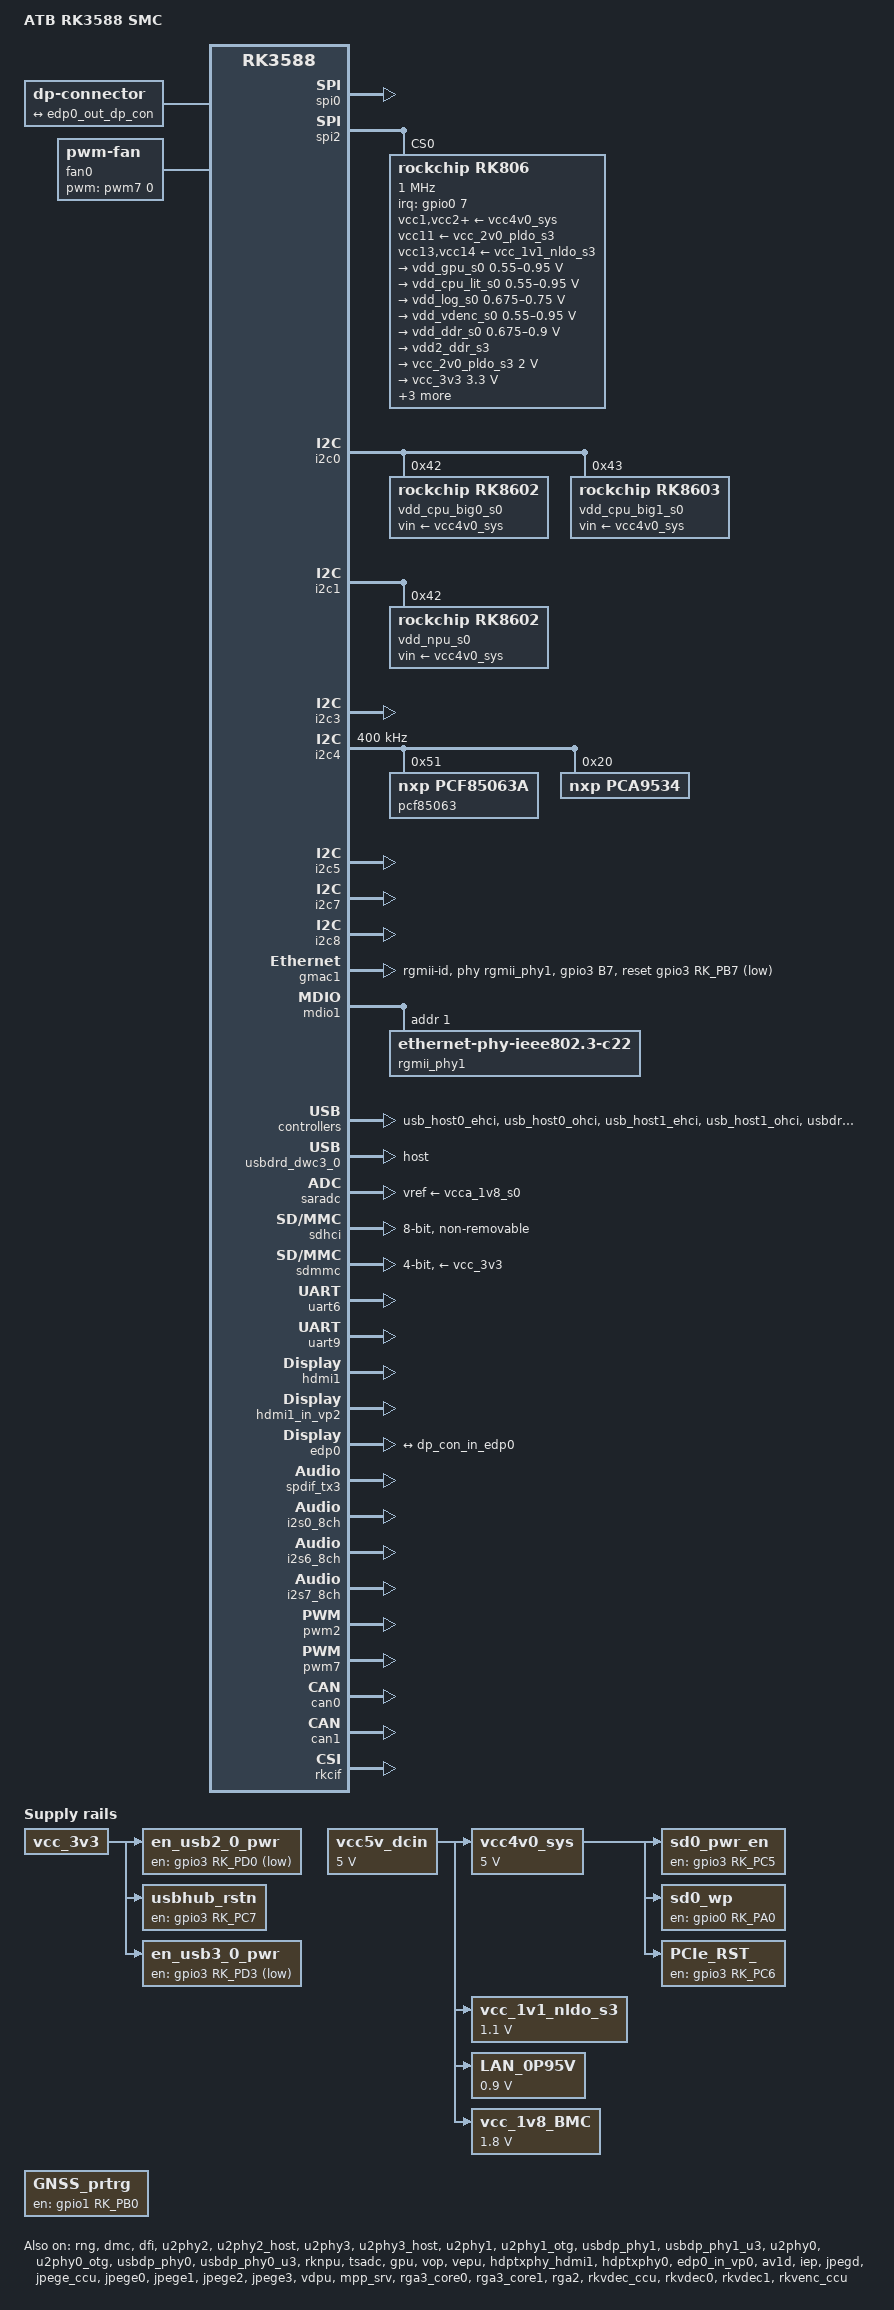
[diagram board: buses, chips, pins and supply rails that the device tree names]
// SPDX-License-Identifier: (GPL-2.0+ OR MIT)
/*
 * Copyright (c) 2022 Rockchip Electronics Co., Ltd.
 * Copyright (c) 2022 Radxa Limited
 *
 */

/dts-v1/;

#include <dt-bindings/gpio/gpio.h>
#include <dt-bindings/leds/common.h>
#include <dt-bindings/pwm/pwm.h>
#include <dt-bindings/pinctrl/rockchip.h>
#include <dt-bindings/input/rk-input.h>
#include <dt-bindings/display/drm_mipi_dsi.h>
#include <dt-bindings/display/rockchip_vop.h>
#include <dt-bindings/sensor-dev.h>
#include "dt-bindings/usb/pd.h"
#include "rk3588.dtsi"
#include "rk3588-smc-pcie-sata.dtsi"

/ {
	model = "ATB RK3588 SMC";
	compatible = "atb,rk3588-smc", "rockchip,rk3588";

    aliases {
		ethernet0 = &gmac0;
		ethernet1 = &gmac1;
        mmc0 = &sdhci;
		mmc1 = &sdmmc;
	};
	
    chosen: chosen {
		bootargs = "earlycon=uart8250,mmio32,0xfeb50000 console=ttyFIQ0";
		stdout-path = "serial2:115200n8";
	};

    //CHECK_IT //DEBUG ON UART3    //MUST be fixed to UART2!!!
    fiq_debugger: fiq-debugger {
		compatible = "rockchip,fiq-debugger";
		rockchip,serial-id = <2>;
		rockchip,wake-irq = <0>;
		//If enable uart uses irq instead of fiq
		rockchip,irq-mode-enable = <1>;
		rockchip,baudrate = <115200>;  // Only 115200 and 1500000
		interrupts = <GIC_SPI 423 IRQ_TYPE_LEVEL_LOW>;
		pinctrl-names = "default";
		pinctrl-0 = <&uart2m0_xfer>;
		status = "okay";
	};
	
    cspmu: cspmu@fd10c000 {
		compatible = "rockchip,cspmu";
		reg = <0x0 0xfd10c000 0x0 0x1000>,
		      <0x0 0xfd10d000 0x0 0x1000>,
		      <0x0 0xfd10e000 0x0 0x1000>,
		      <0x0 0xfd10f000 0x0 0x1000>,
		      <0x0 0xfd12c000 0x0 0x1000>,
		      <0x0 0xfd12d000 0x0 0x1000>,
		      <0x0 0xfd12e000 0x0 0x1000>,
		      <0x0 0xfd12f000 0x0 0x1000>;
	};

	debug: debug@fd104000 {
		compatible = "rockchip,debug";
		reg = <0x0 0xfd104000 0x0 0x1000>,
		      <0x0 0xfd105000 0x0 0x1000>,
		      <0x0 0xfd106000 0x0 0x1000>,
		      <0x0 0xfd107000 0x0 0x1000>,
		      <0x0 0xfd124000 0x0 0x1000>,
		      <0x0 0xfd125000 0x0 0x1000>,
		      <0x0 0xfd126000 0x0 0x1000>,
		      <0x0 0xfd127000 0x0 0x1000>;
	};
	
    firmware {
		optee: optee {
			compatible = "linaro,optee-tz";
			method = "smc";
			//status = "disabled";
		};
	};
	
	//Input suply
	vcc5v_dcin: vcc5v-dcin {
		compatible = "regulator-fixed";
		regulator-name = "vcc5v_dcin";
		regulator-always-on;
		regulator-boot-on;
		regulator-min-microvolt = <5000000>;
		regulator-max-microvolt = <5000000>;
	};
	
	//D6
	vcc4v0_sys: vcc4v0-sys {
		compatible = "regulator-fixed";
		regulator-name = "vcc5v0_sys";
		regulator-always-on;
		regulator-boot-on;
		regulator-min-microvolt = <5000000>;
		regulator-max-microvolt = <5000000>;
		vin-supply = <&vcc5v_dcin>;
	};
    
    //D5
    vcc_1v1_nldo_s3: vcc-1v1-nldo-s3 {
		compatible = "regulator-fixed";
		regulator-name = "vcc_1v1_nldo_s3";
		regulator-always-on;
		regulator-boot-on;
		regulator-min-microvolt = <1100000>;
		regulator-max-microvolt = <1100000>;
		vin-supply = <&vcc5v_dcin>;
	};
	
	//D14
	LAN_0P95V: LAN-0P95V {
		compatible = "regulator-fixed";
		regulator-name = "LAN_0P95V";
		regulator-always-on;
		regulator-boot-on;
		regulator-min-microvolt = <900000>;
		regulator-max-microvolt = <900000>;
		vin-supply = <&vcc5v_dcin>;
	};
	
    //D28
    vcc_1v8_BMC: vcc-1v8-BMC {
		compatible = "regulator-fixed";
		regulator-name = "vcc_1v8_BMC";
		regulator-always-on;
		regulator-boot-on;
		regulator-min-microvolt = <1800000>;
		regulator-max-microvolt = <1800000>;
		vin-supply = <&vcc5v_dcin>;
	};
	
	// SDMMC0_PWR_EN
	sd0_pwr_en: sd0-pwr-en {
		compatible = "regulator-fixed";
		regulator-name = "sd0_pwr_en";
		regulator-boot-on;
		regulator-always-on;
		enable-active-high;
		//gpios = <&gpio3 RK_PC5 GPIO_ACTIVE_LOW>;
		gpios = <&gpio3 RK_PC5 GPIO_ACTIVE_HIGH>;
		vin-supply = <&vcc4v0_sys>;
		status = "okay";
	};
	
	// SDMMC0_WP
	sd0_wp: sd0-wp {
		compatible = "regulator-fixed";
		regulator-name = "sd0_wp";
		regulator-boot-on;
		regulator-always-on;
		enable-active-high;
		gpios = <&gpio0 RK_PA0 GPIO_ACTIVE_HIGH>;
		vin-supply = <&vcc4v0_sys>;
		status = "okay";
	};
	
    // Pcie reset.
    //One reset out to all lines. we can't use it. 
	PCIe_RST_: PCIe-RST- {
		compatible = "regulator-fixed";
		regulator-name = "PCIe_RST_";
		regulator-boot-on;
		regulator-always-on;
		enable-active-high;
		gpios = <&gpio3 RK_PC6 GPIO_ACTIVE_HIGH>;
		vin-supply = <&vcc4v0_sys>;
		status = "okay";
	};
    
    //USB20_PWR_DIS
    en_usb2_0_pwr: en_usb2_0_pwr {
        compatible = "regulator-fixed";
        regulator-name = "en_usb2_0_pwr";
        regulator-boot-on;
        regulator-always-on;
        enable-active-low;
        gpios = <&gpio3 RK_PD0 GPIO_ACTIVE_HIGH>;
        vin-supply = <&vcc_3v3>;
        status = "okay";
    };
    
    //USBHUB_RSTn
    usbhub_rstn: usbhub_rstn {
        compatible = "regulator-fixed";
        regulator-name = "usbhub_rstn";
        regulator-boot-on;
        regulator-always-on;
        enable-active-high;
        gpios = <&gpio3 RK_PC7 GPIO_ACTIVE_HIGH>;
        vin-supply = <&vcc_3v3>;
        status = "okay";
    };
    
    //USB30_PWR_DIS
    en_usb3_0_pwr: en_usb3_0_pwr {
        compatible = "regulator-fixed";
        regulator-name = "en-usb3_0-pwr";
        regulator-boot-on;
        regulator-always-on;
        enable-active-low;
        gpios = <&gpio3 RK_PD3 GPIO_ACTIVE_HIGH>;
        vin-supply = <&vcc_3v3>;
        status = "okay";
    };
    
    GNSS_prtrg: GNSS-prtrg {
		compatible = "regulator-fixed";
		enable-active-high;
		gpio = <&gpio1 RK_PB0 GPIO_ACTIVE_LOW>;
		pinctrl-names = "default";
		pinctrl-0 = <&gnss_prtrg_pin>;
		regulator-name = "gnss_prtrg_pin";
		regulator-always-on;
		regulator-boot-on;
    };
    
	hdmi1_sound: hdmi1-sound {
		status = "okay";
		compatible = "rockchip,hdmi";
		rockchip,mclk-fs = <128>;
		rockchip,card-name = "rockchip-hdmi1";
		rockchip,cpu = <&i2s6_8ch>;
		rockchip,codec = <&hdmi1>;
		rockchip,jack-det;
	};

	// If hdmirx node is disabled, delete the reserved-memory node here. 
	reserved-memory {
		#address-cells = <2>;
		#size-cells = <2>;
		ranges;

		// Reserve 256MB memory for hdmirx-controller@fdee0000
		cma {
			compatible = "shared-dma-pool";
			reusable;
			reg = <0x0 (256 * 0x100000) 0x0 (256 * 0x100000)>;
			linux,cma-default;
		};
		drm_logo: drm-logo@00000000 {
			compatible = "rockchip,drm-logo";
			reg = <0x0 0x0 0x0 0x0>;
		};

		drm_cubic_lut: drm-cubic-lut@00000000 {
			compatible = "rockchip,drm-cubic-lut";
			reg = <0x0 0x0 0x0 0x0>;
		};

		ramoops: ramoops@110000 {
			compatible = "ramoops";
			reg = <0x0 0x110000 0x0 0xf0000>;
			record-size = <0x20000>;
			console-size = <0x80000>;
			ftrace-size = <0x00000>;
			pmsg-size = <0x50000>;
		};
	};

	hdmiin_dc: hdmiin-dc {
		compatible = "rockchip,dummy-codec";
		#sound-dai-cells = <0>;
	};
	
	edp0_sound: edp0-sound {
		status = "okay";
		compatible = "simple-audio-card";
		simple-audio-card,name = "rockchip-edp-sound";

		simple-audio-card,cpu {
			sound-dai = <&spdif_tx3>;
		};
		simple-audio-card,codec {
			sound-dai = <&edp0 1>;
		};
	};
	
    dp-con {
		compatible = "dp-connector";
		status = "okay";

		port {
			dp_con_in_edp0: endpoint {
				remote-endpoint = <&edp0_out_dp_con>;
			};
		};
	};
	
	//CHECK_IT //WTF?
    test-power {
		status = "okay";
	};
	
	fan0: pwm-fan {
		compatible = "pwm-fan";
		#cooling-cells = <2>;
		cooling-levels = <72 94 117 139 162 184 207 229 255>;
		pwms = <&pwm7 0 10000 0>;
	};
};

&rng {
	status = "okay";
};
//=============================================================================
//  //SPI
//=============================================================================

&spi0 {
	status = "okay";
	assigned-clocks = <&cru PCLK_SPI0>;
	assigned-clock-rates = <200000000>;
	pinctrl-names = "default";
	pinctrl-0 = <&spi0m2_cs0 &spi0m2_cs1 &spi0m2_pins>;
};

//=============================================================================
//  //SPI2  PMIC
//=============================================================================
//D1 //PMIC
&spi2 {
	status = "okay";
	assigned-clocks = <&cru CLK_SPI2>;
	assigned-clock-rates = <200000000>;
	pinctrl-names = "default";
	pinctrl-0 = <&spi2m2_cs0 &spi2m2_pins>;
	num-cs = <1>;

	rk806: rk806@0 {
		compatible = "rockchip,rk806";
		spi-max-frequency = <1000000>;
		reg = <0x0>;

		interrupt-parent = <&gpio0>;
		interrupts = <7 IRQ_TYPE_LEVEL_LOW>;

		pinctrl-names = "default", "pmic-power-off";
		pinctrl-0 = <&pmic_pins>, <&rk806_dvs1_null>, <&rk806_dvs2_null>, <&rk806_dvs3_null>;
		pinctrl-1 = <&rk806_dvs1_pwrdn>;

		//2800mv-3500mv 
		low_voltage_threshold = <3000>;
		// 2700mv-3400mv 
		shutdown_voltage_threshold = <2700>;
		// 140 160 
		shutdown_temperture_threshold = <160>;
		hotdie_temperture_threshold = <115>;

		// 0: restart PMU;
		// 1: reset all the power off reset registers,
		//    forcing the state to switch to ACTIVE mode;
		// 2: Reset all the power off reset registers,
		//    forcing the state to switch to ACTIVE mode,
		//    and simultaneously pull down the RESETB PIN for 5mS before releasing

		pmic-reset-func = <1>;

		vcc1-supply = <&vcc4v0_sys>;
		vcc2-supply = <&vcc4v0_sys>;
		vcc3-supply = <&vcc4v0_sys>;
		vcc4-supply = <&vcc4v0_sys>;
		vcc5-supply = <&vcc4v0_sys>;
		vcc6-supply = <&vcc4v0_sys>;
		vcc7-supply = <&vcc4v0_sys>;
		vcc8-supply = <&vcc4v0_sys>;
		vcc9-supply = <&vcc4v0_sys>;
		vcc10-supply = <&vcc4v0_sys>;
		vcc11-supply = <&vcc_2v0_pldo_s3>;
		vcc12-supply = <&vcc4v0_sys>;
		vcc13-supply = <&vcc_1v1_nldo_s3>;
		vcc14-supply = <&vcc_1v1_nldo_s3>;
		vcca-supply = <&vcc4v0_sys>;

		pwrkey {
			status = "okay";
		};

		pinctrl_rk806: pinctrl_rk806 {
			gpio-controller;
			#gpio-cells = <2>;

			rk806_dvs1_null: rk806_dvs1_null {
				pins = "gpio_pwrctrl2";
				function = "pin_fun0";
			};

			rk806_dvs1_slp: rk806_dvs1_slp {
				pins = "gpio_pwrctrl1";
				function = "pin_fun1";
			};

			rk806_dvs1_pwrdn: rk806_dvs1_pwrdn {
				pins = "gpio_pwrctrl1";
				function = "pin_fun2";
			};

			rk806_dvs1_rst: rk806_dvs1_rst {
				pins = "gpio_pwrctrl1";
				function = "pin_fun3";
			};

			rk806_dvs2_null: rk806_dvs2_null {
				pins = "gpio_pwrctrl2";
				function = "pin_fun0";
			};

			rk806_dvs2_slp: rk806_dvs2_slp {
				pins = "gpio_pwrctrl2";
				function = "pin_fun1";
			};

			rk806_dvs2_pwrdn: rk806_dvs2_pwrdn {
				pins = "gpio_pwrctrl2";
				function = "pin_fun2";
			};

			rk806_dvs2_rst: rk806_dvs2_rst {
				pins = "gpio_pwrctrl2";
				function = "pin_fun3";
			};

			rk806_dvs2_dvs: rk806_dvs2_dvs {
				pins = "gpio_pwrctrl2";
				function = "pin_fun4";
			};

			rk806_dvs2_gpio: rk806_dvs2_gpio {
				pins = "gpio_pwrctrl2";
				function = "pin_fun5";
			};

			rk806_dvs3_null: rk806_dvs3_null {
				pins = "gpio_pwrctrl3";
				function = "pin_fun0";
			};

			rk806_dvs3_slp: rk806_dvs3_slp {
				pins = "gpio_pwrctrl3";
				function = "pin_fun1";
			};

			rk806_dvs3_pwrdn: rk806_dvs3_pwrdn {
				pins = "gpio_pwrctrl3";
				function = "pin_fun2";
			};

			rk806_dvs3_rst: rk806_dvs3_rst {
				pins = "gpio_pwrctrl3";
				function = "pin_fun3";
			};

			rk806_dvs3_dvs: rk806_dvs3_dvs {
				pins = "gpio_pwrctrl3";
				function = "pin_fun4";
			};

			rk806_dvs3_gpio: rk806_dvs3_gpio {
				pins = "gpio_pwrctrl3";
				function = "pin_fun5";
			};
		};

		regulators {
			vdd_gpu_s0: vdd_gpu_mem_s0: DCDC_REG1 {
				regulator-boot-on;
				regulator-min-microvolt = <550000>;
				regulator-max-microvolt = <950000>;
				regulator-ramp-delay = <12500>;
				regulator-name = "vdd_gpu_s0";
				regulator-enable-ramp-delay = <400>;
				regulator-state-mem {
					regulator-off-in-suspend;
				};
			};

			vdd_cpu_lit_s0: vdd_cpu_lit_mem_s0: DCDC_REG2 {
				regulator-always-on;
				regulator-boot-on;
				regulator-min-microvolt = <550000>;
				regulator-max-microvolt = <950000>;
				regulator-ramp-delay = <12500>;
				regulator-name = "vdd_cpu_lit_s0";
				regulator-state-mem {
					regulator-off-in-suspend;
				};
			};

			//VDD_LOGIC???
			vdd_log_s0: DCDC_REG3 {
				regulator-always-on;
				regulator-boot-on;
				regulator-min-microvolt = <675000>;
				regulator-max-microvolt = <750000>;
				regulator-ramp-delay = <12500>;
				regulator-name = "vdd_log_s0";
				regulator-state-mem {
					regulator-off-in-suspend;
					regulator-suspend-microvolt = <750000>;
				};
			};
//			vdd_log_s0 {
//                regulator-state-mem {
//                    regulator-on-in-suspend;
//                    regulator-suspend-microvolt = <750000>;
//                };
//            };

			vdd_vdenc_s0: vdd_vdenc_mem_s0: DCDC_REG4 {
				regulator-always-on;
				regulator-boot-on;
				regulator-min-microvolt = <550000>;
				regulator-max-microvolt = <950000>;
				regulator-init-microvolt = <750000>;
				regulator-ramp-delay = <12500>;
				regulator-name = "vdd_vdenc_s0";
				regulator-state-mem {
					regulator-off-in-suspend;
				};
			};

			vdd_ddr_s0: DCDC_REG5 {
				regulator-always-on;
				regulator-boot-on;
				regulator-min-microvolt = <675000>;
				regulator-max-microvolt = <900000>;
				regulator-ramp-delay = <12500>;
				regulator-name = "vdd_ddr_s0";
				regulator-state-mem {
					regulator-off-in-suspend;
					regulator-suspend-microvolt = <850000>;
				};
			};

			vdd2_ddr_s3: DCDC_REG6 {
				regulator-always-on;
				regulator-boot-on;
				regulator-name = "vdd2_ddr_s3";
				regulator-state-mem {
					regulator-on-in-suspend;
				};
			};

			vcc_2v0_pldo_s3: DCDC_REG7 {
				regulator-always-on;
				regulator-boot-on;
				regulator-min-microvolt = <2000000>;
				regulator-max-microvolt = <2000000>;
				regulator-name = "vdd_2v0_pldo_s3";
				regulator-state-mem {
					regulator-on-in-suspend;
					regulator-suspend-microvolt = <2000000>;
				};
			};

			vcc_3v3: DCDC_REG8 {
				regulator-always-on;
				regulator-boot-on;
				regulator-min-microvolt = <3300000>;
				regulator-max-microvolt = <3300000>;
				regulator-name = "vcc_3v3_s3";
				regulator-state-mem {
					regulator-on-in-suspend;
					regulator-suspend-microvolt = <3300000>;
				};
			};

			vddq_ddr_s0: DCDC_REG9 {
				regulator-always-on;
				regulator-boot-on;
				regulator-name = "vddq_ddr_s0";
				regulator-state-mem {
					regulator-off-in-suspend;
				};
			};

			vcc_1v8_sys: DCDC_REG10 {
				regulator-always-on;
				regulator-boot-on;
				regulator-min-microvolt = <1800000>;
				regulator-max-microvolt = <1800000>;
				regulator-name = "vcc_1v8_s3";
				regulator-state-mem {
					regulator-on-in-suspend;
					regulator-suspend-microvolt = <1800000>;
				};
			};

			vcca_1v8_s0: PLDO_REG1 {
				regulator-always-on;
				regulator-boot-on;
				regulator-min-microvolt = <1800000>;
				regulator-max-microvolt = <1800000>;
				regulator-name = "avcc_1v8_s0";
				regulator-state-mem {
					regulator-off-in-suspend;
				};
			};

			//VCCIO2 VCCIO1  //VCCIO3    //VCCIO4    //VCCIO5    //VCCIO6    //MIPI_CSI  //VIDEO //WDT PULLUP
			vcc_1v8: PLDO_REG2 {
				regulator-always-on;
				regulator-boot-on;
				regulator-min-microvolt = <1800000>;
				regulator-max-microvolt = <1800000>;
				regulator-name = "vcc_1v8_s0";
				regulator-state-mem {
					regulator-off-in-suspend;
					regulator-suspend-microvolt = <1800000>;
				};
			};
//			&vcc_1v8 {
//                regulator-state-mem {
//                    regulator-on-in-suspend;
//                    regulator-suspend-microvolt = <1800000>;
//                };
//            };

			vdda_1v2_s0: PLDO_REG3 {
				regulator-always-on;
				regulator-boot-on;
				regulator-min-microvolt = <1200000>;
				regulator-max-microvolt = <1200000>;
				regulator-name = "avdd_1v2_s0";
				regulator-state-mem {
					regulator-off-in-suspend;
				};
			};

			//USB2   //HDMI RX?
			vcca_3v3_s0: PLDO_REG4 {
				regulator-always-on;
				regulator-boot-on;
				regulator-min-microvolt = <3300000>;
				regulator-max-microvolt = <3300000>;
				regulator-name = "vcc_3v3_s0";
				regulator-state-mem {
					regulator-off-in-suspend;
				};
			};
			
//            &vcca_3v3_s0 {
//                regulator-state-mem {
//                    regulator-on-in-suspend;
//                    regulator-suspend-microvolt = <3300000>;
//                };
//            };


			vccio_sd_s0: PLDO_REG5 {
				regulator-always-on;
				regulator-boot-on;
				regulator-min-microvolt = <1800000>;
				regulator-max-microvolt = <3300000>;
				regulator-name = "vccio_sd_s0";
				regulator-state-mem {
					regulator-off-in-suspend;
				};
			};
            
			vcc_1v8_s3: PLDO_REG6 {
				regulator-always-on;
				regulator-boot-on;
				regulator-min-microvolt = <1800000>;
				regulator-max-microvolt = <1800000>;
				regulator-name = "pldo6_s3";
				regulator-state-mem {
					regulator-on-in-suspend;
					regulator-suspend-microvolt = <1800000>;
				};
			};

			vdd_0v75_s3: NLDO_REG1 {
				regulator-always-on;
				regulator-boot-on;
				regulator-min-microvolt = <750000>;
				regulator-max-microvolt = <750000>;
				regulator-name = "vdd_0v75_s3";
				regulator-state-mem {
					regulator-on-in-suspend;
					regulator-suspend-microvolt = <750000>;
				};
			};

			//DDR PLL 
			vdda_ddr_pll_s0: NLDO_REG2 {
				regulator-always-on;
				regulator-boot-on;
				regulator-min-microvolt = <850000>;
				regulator-max-microvolt = <850000>;
				regulator-name = "vdd_ddr_pll_s0";
				regulator-state-mem {
					regulator-off-in-suspend;
					regulator-suspend-microvolt = <850000>;
				};
			};
//			&vdda_ddr_pll_s0 {
//                regulator-state-mem {
//                    regulator-on-in-suspend;
//                    regulator-suspend-microvolt = <850000>;
//                };
//            };

			//USB //Video
			vdda_0v75_s0: NLDO_REG3 {
				regulator-always-on;
				regulator-boot-on;
				regulator-min-microvolt = <837500>;
				regulator-max-microvolt = <837500>;
				regulator-name = "avdd_0v75_s0";
				regulator-state-mem {
					regulator-off-in-suspend;
				};
			};
//			&vdda_0v75_s0 {
//                regulator-state-mem {
//                    regulator-on-in-suspend;
//                    regulator-suspend-microvolt = <837500>;
//                };
//            };

			vdda_0v85_s0: NLDO_REG4 {
				regulator-always-on;
				regulator-boot-on;
				regulator-min-microvolt = <850000>;
				regulator-max-microvolt = <850000>;
				regulator-name = "vdd_0v85_s0";
				regulator-state-mem {
					regulator-off-in-suspend;
				};
			};

			vdd_0v75_s0: NLDO_REG5 {
				regulator-always-on;
				regulator-boot-on;
				regulator-min-microvolt = <750000>;
				regulator-max-microvolt = <750000>;
				regulator-name = "vdd_0v75_s0";
				regulator-state-mem {
					regulator-off-in-suspend;
				};
			};
		};
	};

};

//=============================================================================
//  //CPU
//=============================================================================
//D7    //CPU
&cpu_l0 {
	cpu-supply = <&vdd_cpu_lit_s0>;
	mem-supply = <&vdd_cpu_lit_mem_s0>;
};

&cpu_b0 {
	cpu-supply = <&vdd_cpu_big0_s0>;
	mem-supply = <&vdd_cpu_big0_mem_s0>;
};

&cpu_b2 {
	cpu-supply = <&vdd_cpu_big1_s0>;
	mem-supply = <&vdd_cpu_big1_mem_s0>;
};

//=============================================================================
//  //LPDDR4
//=============================================================================
//D8 //D9    //LPDDR4
&dmc {
	status = "okay";
	center-supply = <&vdd_ddr_s0>;
	mem-supply = <&vdd_log_s0>;
};
&dfi {
	status = "okay";
};

//=============================================================================
//  //SPI FLASH //Muxed with eMMC   //NOT USE
//=============================================================================
/*
&sfc {
	status = "okay";
	max-freq = <50000000>;
	#address-cells = <1>;
	#size-cells = <0>;
	pinctrl-names = "default";
	pinctrl-0 = <&fspim2_pins>;

	//D11
	spi_flash: spi-flash@0 {
		#address-cells = <1>;
		#size-cells = <0>;
		compatible = "jedec,spi-nor";
		reg = <0x0>;
		spi-max-frequency = <50000000>;
		spi-tx-bus-width = <1>;
		spi-rx-bus-width = <4>;
		status = "okay";

		partitions {
			compatible = "fixed-partitions";
			#address-cells = <1>;
			#size-cells = <1>;

			loader@0 {
				label = "loader";
				reg = <0x0 0x1000000>;
			};
		};
	};
};
*/
//=============================================================================
//  //I2C 
//=============================================================================
&i2c0 {
	status = "okay";
	pinctrl-names = "default";
	pinctrl-0 = <&i2c0m2_xfer>;
    
    //D2
	vdd_cpu_big0_s0: vdd_cpu_big0_mem_s0: rk8602@42 {
		compatible = "rockchip,rk8602";
		reg = <0x42>;
		vin-supply = <&vcc4v0_sys>;
		regulator-compatible = "rk860x-reg";
		regulator-name = "vdd_cpu_big0_s0";
		regulator-min-microvolt = <550000>;
		regulator-max-microvolt = <1050000>;
		regulator-ramp-delay = <2300>;
		rockchip,suspend-voltage-selector = <1>;
		regulator-boot-on;
		regulator-always-on;
		regulator-state-mem {
			regulator-off-in-suspend;
		};
	};

	//D4
	vdd_cpu_big1_s0: vdd_cpu_big1_mem_s0: rk8603@43 {
		compatible = "rockchip,rk8603";
		reg = <0x43>;
		vin-supply = <&vcc4v0_sys>;
		regulator-compatible = "rk860x-reg";
		regulator-name = "vdd_cpu_big1_s0";
		regulator-min-microvolt = <550000>;
		regulator-max-microvolt = <1050000>;
		regulator-ramp-delay = <2300>;
		rockchip,suspend-voltage-selector = <1>;
		regulator-boot-on;
		regulator-always-on;
		regulator-state-mem {
			regulator-off-in-suspend;
		};
	};
};

&i2c1 {
	status = "okay";
	pinctrl-names = "default";
	pinctrl-0 = <&i2c1m2_xfer>;
    
    //D3
	vdd_npu_s0: vdd_npu_mem_s0: rk8602@42 {
		compatible = "rockchip,rk8602";
		reg = <0x42>;
		vin-supply = <&vcc4v0_sys>;
		regulator-compatible = "rk860x-reg";
		regulator-name = "vdd_npu_s0";
		regulator-min-microvolt = <550000>;
		regulator-max-microvolt = <950000>;
		regulator-ramp-delay = <2300>;
		rockchip,suspend-voltage-selector = <1>;
		regulator-boot-on;
		regulator-always-on;
		regulator-state-mem {
			regulator-off-in-suspend;
		};
	};
};

//General I2C //I2C_GP_CK
&i2c3 {
	status = "okay";
	pinctrl-names = "default";
	pinctrl-0 = <&i2c3m3_xfer>;
    

};

&i2c4 {
	clock-frequency = <400000>;
	pinctrl-names = "default";
	pinctrl-0 = <&i2c4m2_xfer>;
	status = "okay";

	//D12   //RTC
    pcf85063: rtc@51 {
		compatible = "nxp,pcf85063a";
		reg = <0x51>;
		//quartz-load-femtofarads = <12500>;

		/*
		//NO CLOCK
		rtc_clock: rtc_clock {
			compatible = "fixed-clock";
			#clock-cells = <0>;
			clock-frequency = <32768>;
		};
		*/
	};
	
	//D26   //BMC //I2C4   
	//CHECK_IT //NEED ADD???
	
	//D30   //CPU GPIO EXPANDER    //TCA9534 (driver?)
    //nxp,pca9534 must be compatible.
    pca9534: gpio@20 {
		compatible = "nxp,pca9534";
		reg = <0x20>;
		gpio-controller;
		#gpio-cells = <2>;

		//DSI0_TE //IN //X3
		DSI0-TE{
			gpio-hog;
			gpios = <0 GPIO_ACTIVE_HIGH>;
			input;
			line-name = "DSI0_TE";
		};
		//DSI1_TE //IN //X3
		DSI1-TE{
			gpio-hog;
			gpios = <1 GPIO_ACTIVE_HIGH>;
			input;
			line-name = "DSI1_TE";
		};
		//LCD_VDD_EN  //Out 0
		LCD-VDD-EN{
			gpio-hog;
			gpios = <2 GPIO_ACTIVE_HIGH>;
			output-low;
			line-name = "LCD_VDD_EN";
		};
		//LCD_BKLT_EN //Out 0
		LCD-BKLT-EN{
			gpio-hog;
			gpios = <3 GPIO_ACTIVE_HIGH>;
			output-low;
			line-name = "LCD_BKLT_EN";
		};
		//DP0_AUX_SEL //IN 
		DP0-AUX-SEL{
			gpio-hog;
			gpios = <5 GPIO_ACTIVE_HIGH>;
			input;
			line-name = "DP0_AUX_SEL";
		};
		//DP1_AUX_SEL //IN //X3
		DP1-AUX-SEL{
			gpio-hog;
			gpios = <6 GPIO_ACTIVE_HIGH>;
			input;
			line-name = "DP1_AUX_SEL";
		};
		//GNSS_RST_   //Out 1
		GNSS-RST_{
			gpio-hog;
			gpios = <7 GPIO_ACTIVE_HIGH>;
			output-high;
			line-name = "GNSS_RST_";
		};
	};
};

//Power managment I2C //I2C_PM_CK
&i2c5 {
	status = "okay";
	pinctrl-names = "default";
	pinctrl-0 = <&i2c5m4_xfer>;
};

//CHECK_IT I2C1_M4 //Camera I2C    //I2C CAM1_CK CAM1_DAT

//Camera I2C    //I2C CAM0_CK CAM0_DAT
&i2c7 {
	status = "okay";
	pinctrl-names = "default";
	pinctrl-0 = <&i2c7m0_xfer>;
};

//LCD I2C    //I2C_LCD_CK   //DDC Clock Line Used for Flat Panel Detection and Control
&i2c8 {
	status = "okay";
	pinctrl-names = "default";
	pinctrl-0 = <&i2c8m1_xfer>;

};


//=============================================================================
//  //ETHERNET (GMAC)
//=============================================================================
//D15   //GMAC1 PHY //RTL8211FI
&gmac1 {
	status = "okay";
	// Use rgmii-id mode, use both delays
	phy-mode = "rgmii-id";
	clock_in_out = "input";

	// PHY hardware reset, active low
	snps,reset-gpio = <&gpio3 RK_PB7 GPIO_ACTIVE_LOW>;
	snps,reset-active-low;

	// Reset time is 20ms, 100ms for rtl8211f
	snps,reset-delays-us = <0 20000 100000>;

	pinctrl-names = "default";
	pinctrl-0 = <&gmac1_miim
			&gmac1_tx_bus2
			&gmac1_rx_bus2
			&gmac1_rgmii_clk
			&gmac1_rgmii_bus
			&gmac1_clkinout
			&rgmii_phy1_reset_pin>;

	tx_delay = <0x25>;
	rx_delay = <0x25>; 

	phy-handle = <&rgmii_phy1>;
};

&mdio1 {
	rgmii_phy1: phy@1 {
		compatible = "ethernet-phy-ieee802.3-c22";
		reg = <0x1>;
	};
};

//=============================================================================
//  //USB 2.0
//=============================================================================

//D19 //USB HUB //CH335F //USB20_HOST0
&usb_host0_ehci {
	status = "okay";
};

&usb_host0_ohci {
	status = "okay";
};

&u2phy2 {
	status = "okay";
};

&u2phy2_host {
	status = "okay";
};

//D20   //USB EEPROM? AT24C02   //NO Control

//D21 //USB HUB //CH335F //USB20_HOST1
&usb_host1_ehci {
	status = "okay";
};

&usb_host1_ohci {
	status = "okay";
};

&u2phy3 {
	status = "okay";
};

&u2phy3_host {
	status = "okay";
};

//D22   //USB EEPROM? AT24C02   //NO Control

//=============================================================================
//  //USB 3.0
//=============================================================================
&u2phy1 {
	status = "okay";
};

&u2phy1_otg {
	status = "okay";
};

&usbdrd3_1{
	status = "okay";
};

&usbdrd_dwc3_1{
	status = "okay";
};

&usbdp_phy1 {
	status = "okay";
};

&usbdp_phy1_u3 {
	status = "okay";
};

//=============================================================================
//  USB 3.0
//=============================================================================

&u2phy0 {
	status = "okay";
};

&u2phy0_otg {
	rockchip,typec-vbus-det;
	status = "okay";
};

&usbdrd3_0 {
	status = "okay";
};

&usbdp_phy0 {
	status = "okay";
};

&usbdrd_dwc3_0 {
	//dr_mode = "otg";
	dr_mode = "host";
	status = "okay";
};

&usbdp_phy0_u3 {
	status = "okay";
};
//=============================================================================
//  NO CONTROL
//=============================================================================
//D16   //D17   //D18 //ETH LEDS
//NO CONTROL
//D23   //PCIe Clock 
//NO CONTROL
//D24   //PCIe Clock
//NO CONTROL
//D25   //HDMI1/DP1 AUX SWITCH
//NO CONTROL
//D27   //BMC GPIO EXPANDER
//NO CONTROL
//D29   //BMC GPIO EXPANDER
//RESERVED
//D31   //BUFF
//NO CONTROL
//D32

//=============================================================================
//  NPU
//=============================================================================
&rknpu {
	rknpu-supply = <&vdd_npu_s0>;
	mem-supply = <&vdd_npu_mem_s0>;
	status = "okay";
};

&rknpu_mmu {
	status = "okay";
};
//=============================================================================
//  //CHECK_IT //NEED?
//=============================================================================
//CHECK_IT //TEST
//&vcca_1v8_s0 {
//	regulator-state-mem {
//		regulator-on-in-suspend;
//		regulator-suspend-microvolt = <1800000>;
//	};
//};
&saradc {
	status = "okay";
	vref-supply = <&vcca_1v8_s0>;
};

//=============================================================================
//  SDIO SD eMMC
//=============================================================================
//D10   //eMMC
&sdhci {
	bus-width = <8>;
	no-sdio;
	no-sd;
	non-removable;
	max-frequency = <200000000>;
	mmc-hs400-1_8v;
	mmc-hs400-enhanced-strobe;
	status = "okay";
};

//SD Card
&sdmmc {
	max-frequency = <200000000>;
	no-sdio;
	no-mmc;
	bus-width = <4>;
	cap-mmc-highspeed;
	cap-sd-highspeed;
	disable-wp;
	sd-uhs-sdr104;
	vmmc-supply = <&vcc_3v3>;
	vqmmc-supply = <&vccio_sd_s0>;
	pinctrl-names = "default";
	pinctrl-0 = <&sdmmc_bus4 &sdmmc_clk &sdmmc_cmd &sdmmc_det>;
	status = "okay";
};

//SDIO NOT USE
/*
&sdio {
	max-frequency = <150000000>;
	supports-sdio;
	bus-width = <4>;
	disable-wp;
	cap-sd-highspeed;
	cap-sdio-irq;
	keep-power-in-suspend;
	mmc-pwrseq = <&sdio_pwrseq>;
	non-removable;
	num-slots = <1>;
	pinctrl-names = "default";
	pinctrl-0 = <&sdiom0_pins>;
	sd-uhs-sdr104;
	status = "okay";
};
*/

//=============================================================================
//  THERMAL
//=============================================================================

//thermal_zones
&tsadc {
	status = "okay";
};

&soc_thermal {
	polling-delay = <1000>;
	polling-delay-passive = <2000>;
	trips {
		trip0: trip-point@0 {
			temperature = <45000>;
			hysteresis = <5000>;
			type = "active";
		};
		trip1: trip-point@1 {
			temperature = <50000>;
			hysteresis = <5000>;
			type = "active";
		};
		trip2: trip-point@2 {
			temperature = <55000>;
			hysteresis = <5000>;
			type = "active";
		};
		trip3: trip-point@3 {
			temperature = <60000>;
			hysteresis = <5000>;
			type = "active";
		};
		trip4: trip-point@4 {
			temperature = <65000>;
			hysteresis = <5000>;
			type = "active";
		};
		trip5: trip-point@5 {
			temperature = <70000>;
			hysteresis = <5000>;
			type = "active";
		};
		trip6: trip-point@6 {
			temperature = <75000>;
			hysteresis = <5000>;
			type = "active";
		};
		pcritical: trip-point@7 {
			temperature = <80000>;
			hysteresis = <1000>;
			type = "active";
		};
	};
	
	cooling-maps {
		map0 {
			trip = <&trip0>;
			cooling-device = <&fan0 0 1>;
			contribution = <1024>;
		};
		map1 {
			trip = <&trip1>;
			cooling-device = <&fan0 1 2>;
			contribution = <1024>;
		};
		map2 {
			trip = <&trip2>;
			cooling-device = <&fan0 2 3>;
			contribution = <1024>;
		};
		map3 {
			trip = <&trip3>;
			cooling-device = <&fan0 3 4>;
			contribution = <1024>;
		};
		map4 {
			trip = <&trip4>;
			cooling-device = <&fan0 4 5>;
			contribution = <1024>;
		};
		map5 {
			trip = <&trip5>;
			cooling-device = <&fan0 5 6>;
			contribution = <1024>;
		};
		map6 {
			trip = <&trip6>;
			cooling-device = <&fan0 6 7>;
			contribution = <1024>;
		};
		map7 {
			trip = <&pcritical>;
			cooling-device = <&fan0 7 8>;
			contribution = <1024>;
		};
	};
};

//=============================================================================
//  UART
//=============================================================================
//FIQ Debugger TBD
//SER1
/*
&uart2 {
	status = "okay";
	pinctrl-names = "default";
	pinctrl-0 = <&uart2m0_xfer>;
};
*/

//CHECK_IT //Uncomment after fix
//FIQ Debugger TEMP
//SER1
/*
&uart3 {
	status = "okay";
	pinctrl-names = "default";
	pinctrl-0 = <&uart3m0_xfer>;
};
*/

//CHECK_IT  //SER2 FULL //SER3 CAT
//SER2 FULL
&uart6 {
	status = "okay";
	pinctrl-names = "default";
	pinctrl-0 = <&uart6m1_xfer &uart6m1_ctsn &uart6m1_rtsn>;
};

//SER0
&uart9 {
	status = "okay";
	pinctrl-names = "default";
	pinctrl-0 = <&uart9m1_xfer &uart9m1_ctsn &uart9m1_rtsn>;
	
	//CHECK_IT //CONFLICT! Must be moved
	/*
    gnss {
        compatible = "u-blox,neo-8";
        vcc-supply = <&vcc3v3_sys>;
        timepulse-gpios = <&gpio4 RK_PB2 GPIO_ACTIVE_HIGH>;
        //enable-gpios = <&gpio4 RK_PA6 GPIO_ACTIVE_HIGH>;
        pinctrl-names = "default";
		pinctrl-0 = <&gnss_en_pin &gnss_pps_pin>;
        current-speed = <9600>;
        status = "okay";
    };
    */
};

//=============================================================================
//  VIDEO   HDMI    DP
//=============================================================================

&gpu {
	mali-supply = <&vdd_gpu_s0>;
	mem-supply = <&vdd_gpu_mem_s0>;
	status = "okay";
};

&vop {
	status = "okay";
	disable-win-move;
	assigned-clocks = <&cru ACLK_VOP>;
	assigned-clock-rates = <800000000>;
};

&vop_mmu {
	status = "okay";
};

&vepu {
	status = "okay";
};

// vp0 & vp1 splice for 8K output
&vp0 {
	rockchip,plane-mask = <(1 << ROCKCHIP_VOP2_CLUSTER0 | 1 << ROCKCHIP_VOP2_ESMART0)>;
	rockchip,primary-plane = <ROCKCHIP_VOP2_ESMART0>;
};

&vp1 {
	rockchip,plane-mask = <(1 << ROCKCHIP_VOP2_CLUSTER1 | 1 << ROCKCHIP_VOP2_ESMART1)>;
	rockchip,primary-plane = <ROCKCHIP_VOP2_ESMART1>;
};

&vp2 {
	rockchip,plane-mask = <(1 << ROCKCHIP_VOP2_CLUSTER2 | 1 << ROCKCHIP_VOP2_ESMART2)>;
	rockchip,primary-plane = <ROCKCHIP_VOP2_ESMART2>;
};

&vp3 {
	rockchip,plane-mask = <(1 << ROCKCHIP_VOP2_CLUSTER3 | 1 << ROCKCHIP_VOP2_ESMART3)>;
	rockchip,primary-plane = <ROCKCHIP_VOP2_ESMART3>;
};

&display_subsystem {
	memory-region = <&drm_logo>;
	memory-region-names = "drm-logo";
	
	clocks = <&hdptxphy_hdmi_clk0>,<&hdptxphy_hdmi_clk1>;
	clock-names = "hdmi0_phy_pll", "hdmi1_phy_pll";
	
	ports = <&vop_out>;

	route {
		route_edp0: route-edp0 {
			status = "okay";
			logo,uboot = "logo.bmp";
			logo,kernel = "logo_kernel.bmp";
			logo,mode = "center";
			charge_logo,mode = "center";
			connect = <&vp0_out_edp0>;
		};

		route_hdmi1: route-hdmi1 {
			status = "okay";
			logo,uboot = "logo.bmp";
			logo,kernel = "logo_kernel.bmp";
			logo,mode = "center";
			charge_logo,mode = "center";
			connect = <&vp2_out_hdmi1>;
			force-output;
		};
	};
};
//----------    HDMO1   ----------

&hdptxphy_hdmi_clk1 {
	status = "okay";
};

&hdmi1 {
	status = "okay";
	pinctrl-names = "default";
	pinctrl-0 = <&hdmim0_tx1_hpd &hdmim0_tx1_scl &hdmim0_tx1_sda>;
    cec-enable = "false";
};

&hdmi1_in_vp0 {
	status = "disabled";
};

&hdmi1_in_vp1 {
	status = "disabled";
};

&hdmi1_in_vp2 {
	status = "okay";
};

&route_hdmi1 {
	status = "okay";
	force-output;
	connect = <&vp2_out_hdmi1>;
};

&hdmi1_sound {
	status = "okay";
};

&hdptxphy_hdmi1 {
	status = "okay";
};
//----------    EDP0   ----------
&hdptxphy_hdmi_clk0 {
	status = "okay";
};

&edp0 {
	status = "okay";
	pinctrl-names = "default";
	pinctrl-0 = <&hdmim0_tx0_hpd>;
	#sound-dai-cells = <1>;
    //force-hpd;
    
	ports {
		port@1 {
			reg = <1>;

			edp0_out_dp_con: endpoint {
				remote-endpoint = <&dp_con_in_edp0>;
			};
		};
	};

//	support-psr;
};

&hdptxphy0 {
	status = "okay";
};

&edp0_sound {
	status = "okay";
};

&spdif_tx3{
	status = "okay";
};

&edp0_in_vp0 {
	status = "okay";
};

&edp0_in_vp1 {
	status = "disabled";
};

&edp0_in_vp2 {
	status = "disabled";
};

&route_edp0 {
	status = "okay";
	force-output;
	connect = <&vp0_out_edp0>;
};

//=============================================================================
//  CODECS
//=============================================================================

&av1d {
	status = "okay";
};

&av1d_mmu {
	status = "okay";
};

&iep {
	status = "okay";
};

&iep_mmu {
	status = "okay";
};

&jpegd {
	status = "okay";
};

&jpegd_mmu {
	status = "okay";
};

&jpege_ccu {
	status = "okay";
};

&jpege0 {
	status = "okay";
};

&jpege0_mmu {
	status = "okay";
};

&jpege1 {
	status = "okay";
};

&jpege1_mmu {
	status = "okay";
};

&jpege2 {
	status = "okay";
};

&jpege2_mmu {
	status = "okay";
};

&jpege3 {
	status = "okay";
};

&jpege3_mmu {
	status = "okay";
};

&vdpu {
	status = "okay";
};

&vdpu_mmu {
	status = "okay";
};

&mpp_srv {
	status = "okay";
};

&rga3_core0 {
	status = "okay";
};

&rga3_0_mmu {
	status = "okay";
};

&rga3_core1 {
	status = "okay";
};

&rga3_1_mmu {
	status = "okay";
};

&rga2 {
	status = "okay";
};

&rkvdec_ccu {
	status = "okay";
};

&rkvdec0 {
	status = "okay";
};

&rkvdec0_mmu {
	status = "okay";
};

&rkvdec1 {
	status = "okay";
};

&rkvdec1_mmu {
	status = "okay";
};

&rkvenc_ccu {
	status = "okay";
};

&rkvenc0 {
	venc-supply = <&vdd_vdenc_s0>;
	mem-supply = <&vdd_vdenc_mem_s0>;
	status = "okay";
};

&rkvenc0_mmu {
	status = "okay";
};

&rkvenc1 {
	venc-supply = <&vdd_vdenc_s0>;
	mem-supply = <&vdd_vdenc_mem_s0>;
	status = "okay";
};

&rkvenc1_mmu {
	status = "okay";
};


//=============================================================================
//  I2S
//=============================================================================
//I2S0
//Typical digital audio I/O
//mclkin_i2s0?
&i2s0_8ch {
    pinctrl-0 = <&i2s0_sclk &i2s0_sdi0 &i2s0_sdo0 &i2s0_lrck>;
	status = "okay";
};

//HDMI1 SOUND
&i2s6_8ch {
	status = "okay";
};

//HDMIIN SOUND
&i2s7_8ch {
	status = "okay";
};
//=============================================================================
//  PWM
//=============================================================================

//LCD_PWM
&pwm2 {
    status = "okay";
	pinctrl-0 = <&pwm2m2_pins>;
};

//Fan Speed Control
//R_GPIO5/PWM_OUT   //Not use. Reserver for SPI0
/*
&pwm5 {
    status = "okay";
	pinctrl-0 = <&pwm5m1_pins>;
	
};
*/

//Fan Speed Control
//GPIO5/PWM_OUT
&pwm7 {
    status = "okay";
	pinctrl-0 = <&pwm7m3_pins>;
	
};

//=============================================================================
//      CAN
//=============================================================================
&can0 {
	status = "okay";
	compatible = "rockchip,canfd-1.0";
    //compatible = "rockchip,can-2.0";
	pinctrl-names = "default";
	pinctrl-0 = <&can0m0_pins>;
	assigned-clocks = <&cru CLK_CAN0>;
	assigned-clock-rates = <200000000>;
};

&can1 {
	status = "okay";
	compatible = "rockchip,canfd-1.0";
    //compatible = "rockchip,can-2.0";
	pinctrl-names = "default";
	pinctrl-0 = <&can1m1_pins>;
	assigned-clocks = <&cru CLK_CAN1>;
	assigned-clock-rates = <200000000>;
};
//=============================================================================
//      SUSPEND
//=============================================================================
//CHERCK_IT //NEED?
/*
&rockchip_suspend {
	compatible = "rockchip,pm-rk3588";
	status = "okay";
	rockchip,sleep-debug-en = <1>;
	rockchip,sleep-mode-config = <
		(0
		| RKPM_SLP_ARMOFF_DDRPD
		)
	>;
	rockchip,wakeup-config = <
		(0
		| RKPM_GPIO_WKUP_EN
		| RKPM_USB_WKUP_EN
		)
	>;
};
*/
//=============================================================================
//  OTHER
//=============================================================================
// watchdog
&wdt {
        status = "okay";
};

//CHECK_IT
&rkcif {
	status = "okay";
};

&rkcif_mmu {
	status = "okay";
};

&rkisp0 {
	status = "okay";
};

&isp0_mmu {
	status = "okay";
};

&rkisp1 {
	status = "okay";
};

&isp1_mmu {
	status = "okay";
};
//=============================================================================
//  PINCTL
//=============================================================================
&pinctrl {
	ethernet {
		rgmii_phy1_reset_pin: rgmii-phy1-reset-pin {
			rockchip,pins = <3 RK_PB7 RK_FUNC_GPIO &pcfg_pull_none>;
		};
	};

	pcie {
        //LAN0_PE_RST
        lan0_pe_rst_pin: lan0-pe-rst-pin {
			rockchip,pins = <3 RK_PD1 RK_FUNC_GPIO &pcfg_pull_none>;
        };
    };
	
	dp {
		dp0_hpd: dp0-hpd {
			 rockchip,pins = <1 RK_PA5 RK_FUNC_GPIO &pcfg_pull_none>;
		};
	};
	
    gnss_prtrg_pin: gnss-prtrg-pin {
        rockchip,pins = <1 RK_PB0 RK_FUNC_GPIO &pcfg_pull_none>;
	};
	
	gnss_pps_pin: gnss-pps-pin  {
        rockchip,pins = <1 RK_PA4 RK_FUNC_GPIO &pcfg_pull_none>;
	};
};

&gpio0 {
	gpio-line-names =
		/* GPIO0_A0-A3 */
		"", "", "", "",
		/* GPIO0_A4-A7 */
		"", "", "", "",

		/* GPIO0_B0-B3 */
		"", "", "", "",
		/* GPIO0_B4-B7 */
		"", "", "", "",

		/* GPIO0_C0-C3 */
		"", "", "", "",
		/* GPIO0_C4-C7 */
		"", "", "", "",

		/* GPIO0_D0-D3 */
		"", "", "", "",
		/* GPIO0_D4-D7 */
		"", "", "", "";
};

&gpio1 {
	gpio-line-names =
		/* GPIO1_A0-A3 */
		"", "", "", "",
		/* GPIO1_A4-A7 */
		"", "", "", "",

		/* GPIO1_B0-B3 */
		"", "", "", "",
		/* GPIO1_B4-B7 */
		"", "", "", "",

		/* GPIO1_C0-C3 */
		"", "", "", "",
		/* GPIO1_C4-C7 */
		"", "", "", "",

		/* GPIO1_D0-D3 */
		"", "", "", "",
		/* GPIO1_D4-D7 */
		"", "", "", "";
};

&gpio2 {
	gpio-line-names =
		/* GPIO2_A0-A3 */
		"", "", "", "",
		/* GPIO2_A4-A7 */
		"", "", "", "",

		/* GPIO2_B0-B3 */
		"", "", "", "",
		/* GPIO2_B4-B7 */
		"", "", "", "",

		/* GPIO2_C0-C3 */
		"", "", "", "",
		/* GPIO2_C4-C7 */
		"", "", "", "",

		/* GPIO2_D0-D3 */
		"", "", "", "",
		/* GPIO2_D4-D7 */
		"", "", "", "";
};

&gpio3 {
	gpio-line-names =
		/* GPIO3_A0-A3 */
		"", "", "", "",
		/* GPIO3_A4-A7 */
		"", "", "", "",

		/* GPIO3_B0-B3 */
		"", "", "CPU_USB20_OC_", "",
		/* GPIO3_B4-B7 */
		"", "", "", "",

		/* GPIO3_C0-C3 */
		"CPU_USB30_OC_", "", "", "",
		/* GPIO3_C4-C7 */
		"", "", "", "",

		/* GPIO3_D0-D3 */
		"USB20_PWR_DIS", "", "", "USB30_PWR_DIS",
		/* GPIO3_D4-D7 */
		"", "", "", "";
};

&gpio4 {
	gpio-line-names =
		/* GPIO4_A0-A3 */
		"", "", "", "",
		/* GPIO4_A4-A7 */
		"", "", "", "",

		/* GPIO4_B0-B3 */
		"", "", "", "",
		/* GPIO4_B4-B7 */
		"", "", "", "",

		/* GPIO4_C0-C3 */
		"", "", "", "",
		/* GPIO4_C4-C7 */
		"", "", "", "",

		/* GPIO4_D0-D3 */
		"", "", "", "",
		/* GPIO4_D4-D7 */
		"", "", "", "";
};
